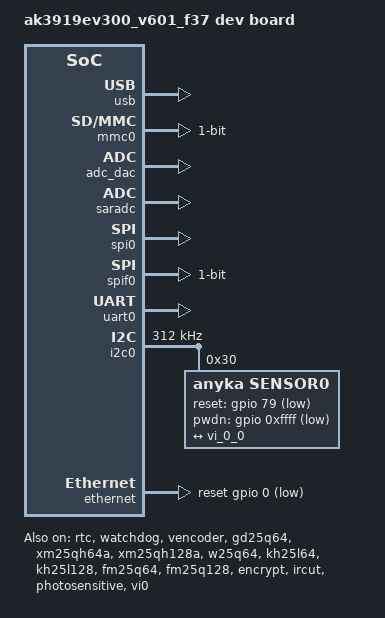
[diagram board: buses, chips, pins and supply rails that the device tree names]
/*
 * cloud39ev3 ak39ev330 dev board dts
 *
 * Copyright (C) 2020 Anyka(Guangzhou) Microelectronics Technology Co., Ltd.
 *
 * This program is free software; you can redistribute it and/or modify
 * it under the terms of the GNU General Public License as published by
 * the Free Software Foundation; either version 2 of the License, or
 * (at your option) any later version.
 *
 * This program is distributed in the hope that it will be useful,
 * but WITHOUT ANY WARRANTY; without even the implied warranty of
 * MERCHANTABILITY or FITNESS FOR A PARTICULAR PURPOSE.  See the
 * GNU General Public License for more details.
 */

/dts-v1/;
#include "anycloud_ak39ev330.dtsi"
#include "anycloud_ak39ev330_norflash.dtsi"

/ {
    compatible = "anyka,ak3919ev330";
    model = "ak3919ev300_v601_f37 dev board";
	version = "V1.0.00";
};

/* 
 * set core_pll = 640MHz, VCLK = 320MHz;
 */
/*
&core_pll {
    clock-div-od = <0>;
    clock-div-n = <3>;
    clock-frequency = <640000000>;
};
*/

&gpio {
    /* anyka,function sharepin func index according to table 2-1 sharepin-list */
    /* index: 0: FUNCTION0, 1: FUNCTION1, 2: FUNCTION2, 3: FUNCTION3, 4: FUNCTION4 */
    /* anyka,pull config value bit[7:0]--pupd config */
    /* bit[7:0]--pupd config, bit[7]:reserved, bit[6:4] 1:enable/ 0:disable, bit[3:0] 0:select PU /1:select PD */

    ircut_pins: ircut_pins {
        anyka,pins = <41 42>;
        anyka,function = <0>;
        anyka,pull = <0x00000010>;
    };

    dvp0_12bits_pins: dvp0_12bits_pins {
        anyka,pins = <6 7 8 9 64 65 66 67 68 69 70 71 72 73 74 75>;
        anyka,function = <0>;
        anyka,pull = <0x00000001>;
    };

    dvp0_10bits_pins: dvp0_10bits_pins {
        anyka,pins = <8 9 64 65 66 67 68 69 70 71 72 73 74 75>;
        anyka,function = <0>;
        anyka,pull = <0x00000001>;
    };

    dvp0_8bits_pins: dvp0_8bits_pins {
        anyka,pins = <64 65 66 67 68 69 70 71 72 73 74 75>;
        anyka,function = <0>;
        anyka,pull = <0x00000001>;
    };

    mipi0_2lane_pins: mipi0_2lane_pins {
        anyka,pins = <70 71 72 73 74 75>;
        anyka,function = <3 3 3 2 2 2>;
        anyka,pull = <0x00000010>;
    };

    mipi0_1lane_pins: mipi0_1lane_pins {
		/*H3B 1lane时不支持lane1用作其他用途，所以这里按照2lane配置*/
        anyka,pins = <70 71 72 73 74 75>;
        anyka,function = <3 3 3 2 2 2>;
        anyka,pull = <0x00000010>;
    };

    csi0_sclk_pin: csi0_sclk_pin {
        anyka,pins = <64>;
        anyka,function = <0>;
        anyka,pull = <0x00000001>;
    };

    csi1_sclk_pin: csi1_sclk_pin {
        anyka,pins = <3>;
        anyka,function = <2>;
        anyka,pull = <0x00000001>;
    };

    i2c0_pins: i2c0_pins {
        anyka,pins = <27 28>;
        anyka,function = <1>;
        anyka,pull = <0x00000010>;
        //anyka,pull = <0x01011110>;
    };

    mci0_pins: mci0_pins {
        /* 1 line */
        anyka,pins = <31 32 33>;
        anyka,function = <1>;
        anyka,pull = <0x00000010>;
    };
    
    spiflash_pins: spiflash_pins {
        /* SPI0_CS SPI0_SCLK SPI0_DI SPI0_DO */
        anyka,pins = <25 26 35 36>; 
        anyka,function = <1 1 2 2>;
        anyka,pull = <0x00000010>;
    };

    /*PWR_EN_ADUIO*/
    speak_pins: speak_pins {
        anyka,pins = <34>;
        anyka,function = <0>;
        anyka,pull = <0x00000010>;
    };

    uart0_pins: uart0_pins {
        anyka,pins = <1 2>;
        anyka,function = <1>;
        anyka,pull = <0x00000010>;
    };
    
	phy_reset_pins: phy_reset_pins {
		anyka,pins = <0>;
	    anyka,function = <0>;
        anyka,pull = <0x00000010>;
    };

    light_led_en_pins: light_led_en_pins {
		anyka,pins = <5>;
	    anyka,function = <0>;
        anyka,pull = <0x00000010>;
    };

    /*uart0_rxd 复用  ir_led_ctrl */
    ir_led_ctrl_pins: ir_led_en_pins {
		anyka,pins = <1>;
	    anyka,function = <0>;
        anyka,pull = <0x00000010>;
    };

    /*uart0_txd 复用  ak_txd */
    ak_txd_pins:ak_txd_pins {
		anyka,pins = <2>;
	    anyka,function = <0>;
        anyka,pull = <0x00000010>;
    };

	/*
	* RMII_MDC(GPIO[10]),RMII_MDIO(GPIO[11]),RMII_TXEN(GPIO[13]),RMII_TXD[0](GPIO[14]), RMII_TXD[1](GPIO15)
	* RMII_RXD[0](GPIO[19]), RMII_RXD[1](GPIO[20]), RMII_RXER(GPIO[23]), RMII_RXDV(GPIO[24]), RMII_50M(OPCLK, GPIO[47])
	*/
    ethernet_pins_rmii: ethernet_pins_rmii {
		anyka,pins 		= <10 11 13 14 15 19 20 23 24 47>;
        anyka,function 	= <1>;
        anyka,pull = <0x00000011 0x00000010 0x00000011 0x00000011 0x00000011 0x00000011 0x00000011 0x00000011 0x00000011 0x00000001>;
    };
};

&rtc {
	 /*
      * rtc osc_source_select, 1 means INTERNAL RC OSC, 0 means EXTERNAL XTAL
      * if internal RC OSC is used to generate 32KH,time adjustment should be setting.(basic unit: ms)
	  */
     osc-select = <1>;
     adjust-time = <120000>;
     status = "okay";
};

&watchdog {
	/*max feed dog time = 357s, default setting time = 10s. */
    def_heartbeat = <10>;
    status = "okay";
};

&vencoder {
    status = "okay";
};

&usb {
    status = "okay";
};

&mmc0 {
    bus-width = <0x1>;
    max-frequency = <50000000>;
    /*
     *  detect mode:
     *  (1) non-removable;
     *  (2) detect-gpio/detect-gpios: card detect using gpio
     *      for example:
     *      detect-gpio = <&gpio 77 1>;  or detect-gpios = <&gpio 77 1>;
     *  (3) cd_clk: card detect using MCLK
     *  default is non-removable
     */
    cd_clk;
    /* if support highspeed, using cap-sd-highspeed */
    cap-sd-highspeed;
    pinctrl-names = "default";
    pinctrl-0 = <&mci0_pins>;
    status = "okay";
};

&adc_dac {
    pinctrl-names = "default";
    pinctrl-0 = <&speak_pins>;
    /* speak-gpios is which speak_en_pins describes */
    speak-gpios = <&gpio 34 1>;
    /* the level of speak-gpios votage for power on audio: 0=low, 1=high*/
    speak-gpios-en = <1>;
    //linein-gpios = <&gpio 54 1>;
    status = "okay";

    dev0 {
        snd-dev = <SND_CARD_DAC_PLAYBACK>;
        snd-type = <AK_PCM_DEV_PLAYBACK>;
        snd-idx = <0>;
    };

    dev1 {
        snd-dev = <SND_CARD_ADC_CAPTURE>;
        snd-type = <AK_PCM_DEV_CAPTURE>;
        snd-idx = <0>;
    };

    dev2 {
        snd-dev = <SND_CARD_DAC_LOOPBACK>;
        snd-type = <AK_PCM_DEV_LOOPBACK>;
        snd-idx = <0>;
    };
};

&saradc{
    /* SAR ADC VREF selection
    * 0:To select AVCC 3.3V as VREF for SAR ADC.
    * 1:To select 3.0V generated from BGR as VREF for SAR ADC.
    */
    vref-select = <1>;
    /*
    * 0:To disable BAT voltage divider.
    * 1:To enable BAT voltage divider divided by 2.
    */
    battery-divider = <1>;
    /*
    * Sampling number
    * Read the sampling data for N times and then calculate the average value.
    * N ranges from 1 to 7.
    */
     sampling-num = <3>;
     status = "okay";
};

&spi0 {
    pinctrl-names = "default";
    pinctrl-0 = <&spiflash_pins>;
    cs-gpios = <&gpio 25 1>;
    status = "okay";
};

&spif0 {
	/* spi flash data bus width:
	** 1 means 1 wire mode.
	** 2 means 2 wire mode
	** 4 means 4 wire mode.
	** default: 4 wire mode.
	**/
	bus-width = <1>;
	status = "okay";
};

&gd25q64{
    status = "okay";
};

&xm25qh64a{
    status = "okay";
};

&xm25qh128a{
    status = "okay"; 
};

&w25q64{
    status = "okay"; 
};

&gd25q64{
    status = "okay";
};

&kh25l64{
    status = "okay";
};

&kh25l128{
    status = "okay";
};

&fm25q64{
    status = "okay";
};

&fm25q128{
    status = "okay";
};


&uart0 {
    pinctrl-names = "default";
	pinctrl-0 = <&uart0_pins>;
    status = "okay";
};

&i2c0 {
    pinctrl-names = "default";
    pinctrl-0 = <&i2c0_pins>;

    clock-frequency = <312000>;
    sda-delay = <100>;
    status = "okay";
	#address-cells = <1>;
	#size-cells = <0>;

	sensor0: camera@0x30{
		compatible = "anyka,sensor0";
		reg = <0x30>;

		/*0xffff means the gpio is invalid*/
		reset-gpio = <&gpio 79 1>;
		pwdn-gpio = <&gpio 0xffff 1>;

		port {
			sensor0_0: endpoint@0 {
				remote-endpoint = <&vi_0_0>;
			};
		};
	};
};

&encrypt{
   /*
    * encrypt-mode
    * 0 = CRYPTO_SINGLE_GROUP_MODE ; 1 = CRYPTO_MULTI_GROUP_MODE
    */
    encrypt-mode = <1>;
    status = "okay";
};

&ethernet {
    pinctrl-names = "default";
    pinctrl-0 = <&ethernet_pins_rmii &phy_reset_pins>;
    reset-gpios = <&gpio 0 1>;
	phy-address = <1>;
    status = "okay";
};

&ircut {
    pinctrl-names = "default";
    pinctrl-0 = <&ircut_pins>;

	ircut-a = "42";
	ircut-b = "41";
	/*set the level for day mode. range: 0, 1*/
	ircut-a-day-level = "0";
	ircut-b-day-level = "1";
	status = "okay";
};

&photosensitive {
    //pinctrl-names = "default";
    //pinctrl-0 = <&photosensitive_pins>;

    /*range: saradc~1, gpio number*/
    photosensitive-port = "saradc0";
    /*the level for day mode, range: low, high*/
    photosensitive-day-level = "high";
    photosensitive-higher-level = "900";
    photosensitive-lower-level = "400";
    status = "okay";
};

&leds {
	pinctrl-names = "default";
	pinctrl-0 = <&light_led_en_pins>;
	led-gpios = <&gpio 5 1>;
	status = "okay";
};

&vi0{
	pinctrl-names = "dvp0_12bits", "dvp0_10bits", "dvp0_8bits",
		"mipi0_2lane", "mipi0_1lane",
		"csi0_sclk", "csi1_sclk";
    pinctrl-0 = <&dvp0_12bits_pins>;
    pinctrl-1 = <&dvp0_10bits_pins>;
    pinctrl-2 = <&dvp0_8bits_pins>;
    pinctrl-3 = <&mipi0_2lane_pins>;
    pinctrl-4 = <&mipi0_1lane_pins>;
    pinctrl-5 = <&csi0_sclk_pin>;
    pinctrl-6 = <&csi1_sclk_pin>;
    status = "okay";

	port@0 {
		#address-cells = <1>;
		#size-cells = <0>;

		vi_0_0: endpoint@0 {
			reg = <0>;
			remote-endpoint = <&sensor0_0>;
		};
	};
};
